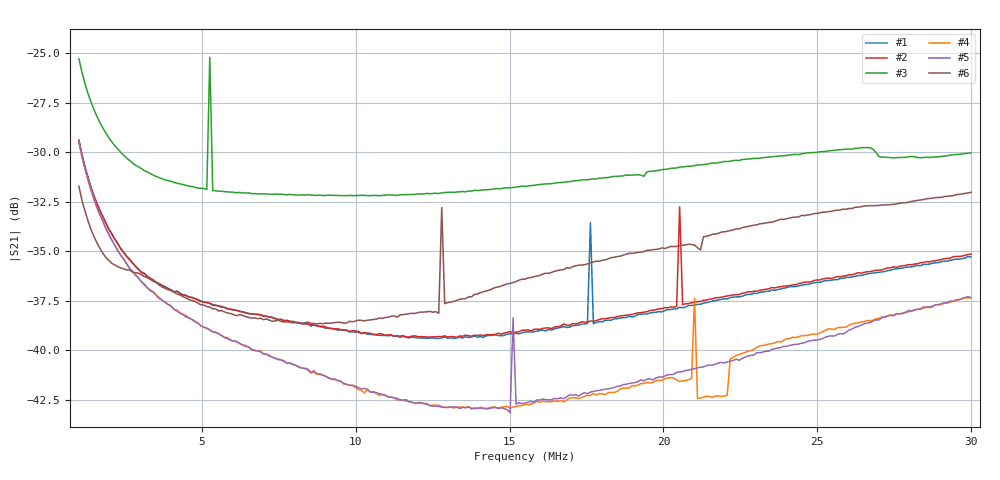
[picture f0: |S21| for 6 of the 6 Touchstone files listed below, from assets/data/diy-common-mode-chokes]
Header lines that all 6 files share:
!File created by NanoVNA-F V2
# Hz S RI R 50
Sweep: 1 MHz to 30 MHz
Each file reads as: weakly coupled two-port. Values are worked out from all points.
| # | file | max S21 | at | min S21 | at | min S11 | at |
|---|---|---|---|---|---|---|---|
| 1 | choke-two-sections-a.s2p | -29.39 dB | 1 MHz | -39.4 dB | 12.6 MHz | -0.2 dB | 3.417 MHz |
| 2 | choke-two-sections-b.s2p | -29.40 dB | 1 MHz | -39.3 dB | 13.28 MHz | -0.2 dB | 3.223 MHz |
| 3 | cmc-2026-11-08-one-section.s2p | -25.20 dB | 5.253 MHz | -32.2 dB | 10.76 MHz | -0.2 dB | 2.74 MHz |
| 4 | cmc-2026-11-08-two-sections-fixture2-a.s2p | -29.48 dB | 1 MHz | -43.0 dB | 14.24 MHz | -8.0 dB | 2.547 MHz |
| 5 | cmc-2026-11-08-two-sections-fixture2-b.s2p | -29.49 dB | 1 MHz | -43.2 dB | 15.02 MHz | -7.7 dB | 2.353 MHz |
| 6 | cmc-2026-11-08-two-sections.s2p | -31.72 dB | 1 MHz | -38.7 dB | 8.733 MHz | -0.6 dB | 1.677 MHz |
